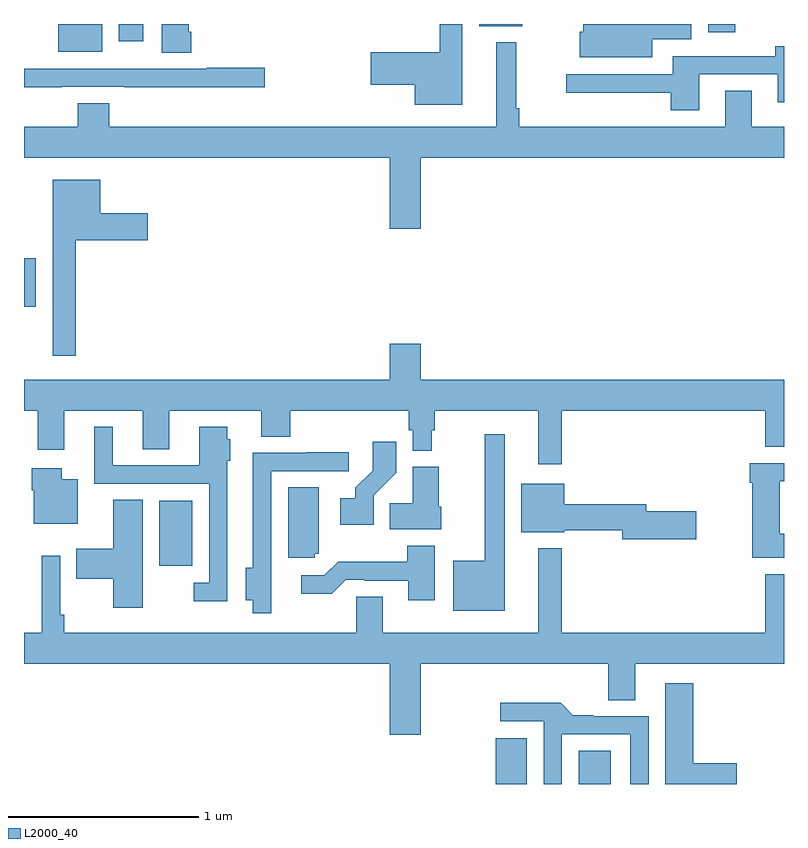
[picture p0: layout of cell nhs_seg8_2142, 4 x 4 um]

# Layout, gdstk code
import gdstk
lib = gdstk.Library(unit=1e-6, precision=1e-09)
def R(c, l, rs):  # rectangles x0, y0, x1, y1
    for r in rs: c.add(gdstk.rectangle(r[:2], r[2:], *l))
def P(c, l, *ps):  # polygons
    for p in ps: c.add(gdstk.Polygon(p, *l))
L2000_40 = (2000, 40)

nhs_seg8_2142 = lib.new_cell('nhs_seg8_2142')
R(nhs_seg8_2142, L2000_40, [(249.482,1083.9,249.646,1084.141), (249.92,1083.9,250.087,1084.076), (247.712,1085.048,247.885,1085.392), (247,1086.413,247.063,1086.667), (247.181,1087.754,247.411,1087.9), (247.499,1087.809,247.627,1087.9), (250.601,1087.857,250.744,1087.9), (249.395,1087.889,249.622,1087.9)])
P(nhs_seg8_2142, L2000_40, [(250.306,1087.821),(250.512,1087.821),(250.512,1087.9),(249.944,1087.9),(249.944,1087.86),(249.926,1087.86),(249.926,1087.724),(250.306,1087.724)],
  [(249.307,1087.9),(249.188,1087.9),(249.188,1087.751),(248.826,1087.751),(248.826,1087.58),(249.056,1087.58),(249.056,1087.475),(249.307,1087.475)],
  [(247.88,1087.858),(247.867,1087.858),(247.867,1087.9),(247.724,1087.9),(247.724,1087.75),(247.88,1087.75)],
  [(249.088,1087.196),(251,1087.196),(251,1087.36),(250.831,1087.36),(250.831,1087.55),(250.691,1087.55),(250.691,1087.36),(249.607,1087.36),(249.607,1087.456),(249.592,1087.456),(249.592,1087.804),(249.485,1087.804),(249.485,1087.36),(247.448,1087.36),(247.448,1087.484),(247.283,1087.484),(247.283,1087.36),(247,1087.36),(247,1087.196),(248.924,1087.196),(248.924,1086.822),(249.088,1086.822)],
  [(250.555,1087.635),(250.967,1087.635),(250.967,1087.488),(251,1087.488),(251,1087.783),(250.955,1087.783),(250.955,1087.731),(250.415,1087.731),(250.415,1087.635),(249.855,1087.635),(249.855,1087.538),(250.403,1087.538),(250.403,1087.446),(250.555,1087.446)],
  [(247.199,1087.569),(247.531,1087.569),(247.531,1087.568),(248.266,1087.568),(248.266,1087.67),(247.963,1087.67),(247.963,1087.665),(247,1087.665),(247,1087.568),(247.199,1087.568)],
  [(247.273,1086.761),(247.651,1086.761),(247.651,1086.903),(247.402,1086.903),(247.402,1087.081),(247.151,1087.081),(247.151,1086.153),(247.273,1086.153)],
  [(249.829,1085.864),(250.901,1085.864),(250.901,1085.674),(251,1085.674),(251,1086.028),(249.088,1086.028),(249.088,1086.217),(248.924,1086.217),(248.924,1086.028),(247,1086.028),(247,1085.864),(247.073,1085.864),(247.073,1085.658),(247.213,1085.658),(247.213,1085.864),(247.625,1085.864),(247.625,1085.662),(247.765,1085.662),(247.765,1085.864),(248.249,1085.864),(248.249,1085.728),(248.402,1085.728),(248.402,1085.864),(249.025,1085.864),(249.025,1085.763),(249.045,1085.763),(249.045,1085.654),(249.146,1085.654),(249.146,1085.763),(249.161,1085.763),(249.161,1085.864),(249.707,1085.864),(249.707,1085.583),(249.829,1085.583)],
  [(248.07,1085.122),(248.071,1085.122),(248.071,1085.601),(248.086,1085.601),(248.086,1085.715),(248.071,1085.715),(248.071,1085.779),(247.922,1085.779),(247.922,1085.577),(247.468,1085.577),(247.468,1085.779),(247.37,1085.779),(247.37,1085.481),(247.974,1085.481),(247.974,1084.959),(247.893,1084.959),(247.893,1084.862),(248.07,1084.862)],
  [(249.529,1085.74),(249.425,1085.74),(249.425,1085.074),(249.26,1085.074),(249.26,1084.811),(249.529,1084.811)],
  [(248.841,1085.419),(248.96,1085.538),(248.96,1085.701),(248.835,1085.701),(248.835,1085.549),(248.744,1085.459),(248.744,1085.404),(248.664,1085.404),(248.664,1085.264),(248.841,1085.264)],
  [(248.302,1085.022),(248.301,1085.022),(248.301,1085.547),(248.71,1085.547),(248.71,1085.646),(248.485,1085.646),(248.485,1085.643),(248.204,1085.643),(248.204,1085.039),(248.168,1085.039),(248.168,1084.868),(248.204,1084.868),(248.204,1084.8),(248.302,1084.8)],
  [(251,1085.218),(250.978,1085.218),(250.978,1085.493),(251,1085.493),(251,1085.589),(250.82,1085.589),(250.82,1085.486),(250.832,1085.486),(250.832,1085.09),(251,1085.09)],
  [(249.196,1085.358),(249.184,1085.358),(249.184,1085.569),(249.047,1085.569),(249.047,1085.378),(248.926,1085.378),(248.926,1085.24),(249.196,1085.24)],
  [(247.282,1085.503),(247.198,1085.503),(247.198,1085.563),(247.04,1085.563),(247.04,1085.445),(247.052,1085.445),(247.052,1085.27),(247.282,1085.27)],
  [(250.537,1085.336),(250.276,1085.336),(250.276,1085.372),(249.844,1085.372),(249.844,1085.479),(249.617,1085.479),(249.617,1085.225),(249.844,1085.225),(249.844,1085.236),(250.148,1085.236),(250.148,1085.189),(250.537,1085.189)],
  [(248.529,1085.112),(248.551,1085.112),(248.551,1085.461),(248.39,1085.461),(248.39,1085.091),(248.529,1085.091)],
  [(247.624,1085.396),(247.469,1085.396),(247.469,1085.137),(247.276,1085.137),(247.276,1084.979),(247.469,1084.979),(247.469,1084.827),(247.624,1084.827)],
  [(249.163,1085.155),(249.016,1085.155),(249.016,1085.071),(248.653,1085.071),(248.58,1084.998),(248.46,1084.998),(248.46,1084.901),(248.621,1084.901),(248.694,1084.974),(248.794,1084.974),(248.794,1084.971),(249.023,1084.971),(249.023,1084.866),(249.163,1084.866)],
  [(250.076,1084.342),(250.216,1084.342),(250.216,1084.532),(251,1084.532),(251,1085.005),(250.901,1085.005),(250.901,1084.696),(249.829,1084.696),(249.829,1085.14),(249.707,1085.14),(249.707,1084.696),(248.887,1084.696),(248.887,1084.886),(248.748,1084.886),(248.748,1084.696),(247.211,1084.696),(247.211,1084.792),(247.191,1084.792),(247.191,1085.101),(247.094,1085.101),(247.094,1084.696),(247,1084.696),(247,1084.532),(248.924,1084.532),(248.924,1084.158),(249.088,1084.158),(249.088,1084.532),(250.076,1084.532)],
  [(250.75,1084.009),(250.523,1084.009),(250.523,1084.429),(250.376,1084.429),(250.376,1083.9),(250.75,1083.9)],
  [(249.831,1084.161),(250.191,1084.161),(250.191,1083.9),(250.287,1083.9),(250.287,1084.257),(249.997,1084.257),(249.997,1084.262),(249.889,1084.262),(249.824,1084.328),(249.507,1084.328),(249.507,1084.23),(249.735,1084.23),(249.735,1083.9),(249.831,1083.9)])

lib.write_gds('nhs_seg8_2142.gds')
